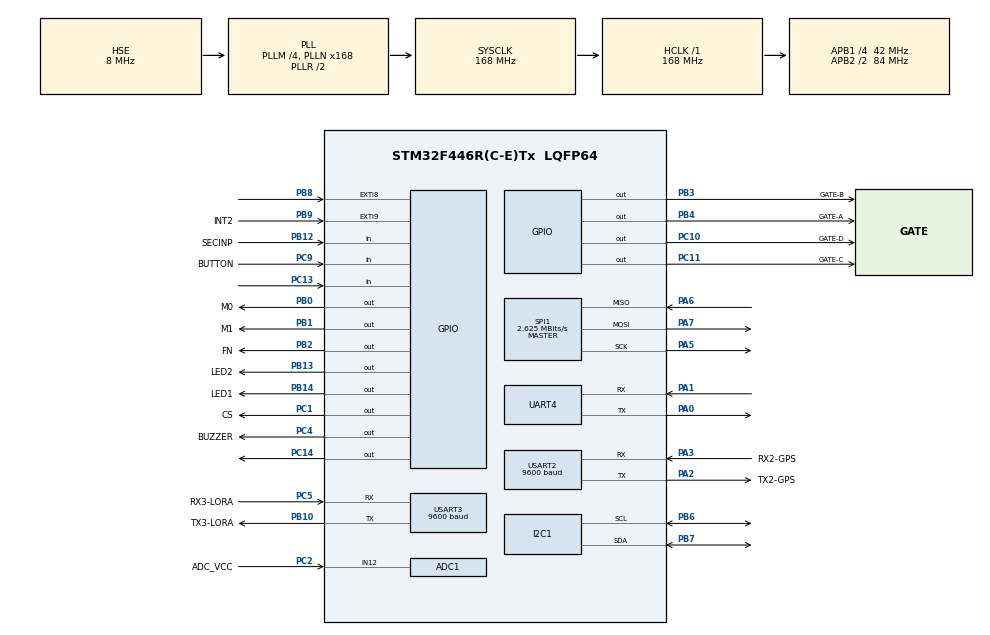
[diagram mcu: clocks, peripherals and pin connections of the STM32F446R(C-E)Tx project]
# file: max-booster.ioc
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ADC1.Channel-11\#ChannelRegularConversion=ADC_CHANNEL_12
ADC1.NbrOfConversionFlag=1
ADC1.Rank-11\#ChannelRegularConversion=1
ADC1.SamplingTime-11\#ChannelRegularConversion=ADC_SAMPLETIME_3CYCLES
ADC1.master=1
I2C1.I2C_Mode=I2C_Fast
Mcu.Family=STM32F4
Mcu.Name=STM32F446R(C-E)Tx
Mcu.Package=LQFP64
NVIC.PriorityGroup=NVIC_PRIORITYGROUP_4
NVIC.TIM1_TRG_COM_TIM11_IRQn=true\:0\:0\:false\:false\:true\:true\:true\:true
NVIC.TIM1_UP_TIM10_IRQn=true\:0\:0\:false\:false\:true\:true\:true\:true
NVIC.TIM6_DAC_IRQn=true\:0\:0\:false\:false\:true\:true\:true\:true
NVIC.TIM7_IRQn=true\:0\:0\:false\:false\:true\:true\:true\:true
NVIC.USART2_IRQn=true\:0\:0\:false\:false\:true\:true\:true\:true
PA0-WKUP.Mode=Asynchronous
PA0-WKUP.Signal=UART4_TX
PA1.Mode=Asynchronous
PA1.Signal=UART4_RX
PA13.Mode=Serial_Wire
PA13.Signal=SYS_JTMS-SWDIO
PA14.Mode=Serial_Wire
PA14.Signal=SYS_JTCK-SWCLK
PA2.GPIO_Label=TX2-GPS
PA2.Mode=Asynchronous
PA2.Signal=USART2_TX
PA3.GPIO_Label=RX2-GPS
PA3.Mode=Asynchronous
PA3.Signal=USART2_RX
PA5.Mode=Full_Duplex_Master
PA5.Signal=SPI1_SCK
PA6.Mode=Full_Duplex_Master
PA6.Signal=SPI1_MISO
PA7.Mode=Full_Duplex_Master
PA7.Signal=SPI1_MOSI
PB0.GPIO_Label=M0
PB0.Signal=GPIO_Output
PB1.GPIO_Label=M1
PB1.Signal=GPIO_Output
PB10.GPIO_Label=TX3-LORA
PB10.Mode=Asynchronous
PB10.Signal=USART3_TX
PB12.GPIO_Label=SECINP
PB12.GPIO_PuPd=GPIO_PULLUP
PB12.Signal=GPIO_Input
PB13.GPIO_Label=LED2
PB13.Signal=GPIO_Output
PB14.GPIO_Label=LED1
PB14.Signal=GPIO_Output
PB2.GPIO_Label=FN
PB2.PinState=GPIO_PIN_SET
PB2.Signal=GPIO_Output
PB3.GPIO_Label=GATE-B
PB3.Signal=GPIO_Output
PB4.GPIO_Label=GATE-A
PB4.Signal=GPIO_Output
PB6.Mode=I2C
PB6.Signal=I2C1_SCL
PB7.Mode=I2C
PB7.Signal=I2C1_SDA
PB8.GPIO_ModeDefaultEXTI=GPIO_MODE_IT_RISING
PB8.Signal=GPXTI8
PB9.GPIO_Label=INT2
PB9.GPIO_PuPd=GPIO_NOPULL
PB9.Signal=GPXTI9
PC1.GPIO_Label=CS
PC1.Signal=GPIO_Output
PC10.GPIO_Label=GATE-D
PC10.Signal=GPIO_Output
PC11.GPIO_Label=GATE-C
PC11.Signal=GPIO_Output
PC13.Signal=GPIO_Input
PC14-OSC32_IN.Signal=GPIO_Output
PC2.GPIO_Label=ADC_VCC
PC2.Signal=ADCx_IN12
PC4.GPIO_Label=BUZZER
PC4.Signal=GPIO_Output
PC5.GPIO_Label=RX3-LORA
PC5.Mode=Asynchronous
PC5.Signal=USART3_RX
PC9.GPIO_Label=BUTTON
PC9.GPIO_PuPd=GPIO_PULLUP
PC9.Signal=GPIO_Input
PH0-OSC_IN.Mode=HSE-External-Oscillator
PH0-OSC_IN.Signal=RCC_OSC_IN
PH1-OSC_OUT.Mode=HSE-External-Oscillator
PH1-OSC_OUT.Signal=RCC_OSC_OUT
ProjectManager.HeapSize=0x200
ProjectManager.StackSize=0x400
ProjectManager.TargetToolchain=STM32CubeIDE
RCC.AHBFreq_Value=168000000
RCC.APB1CLKDivider=RCC_HCLK_DIV4
RCC.APB1Freq_Value=42000000
RCC.APB1TimFreq_Value=84000000
RCC.APB2CLKDivider=RCC_HCLK_DIV2
RCC.APB2Freq_Value=84000000
RCC.APB2TimFreq_Value=168000000
RCC.CortexFreq_Value=168000000
RCC.HCLKFreq_Value=168000000
RCC.HSE_VALUE=8000000
RCC.PLLM=4
RCC.PLLN=168
RCC.PLLQ=7
RCC.PLLSourceVirtual=RCC_PLLSOURCE_HSE
RCC.SYSCLKFreq_VALUE=168000000
RCC.SYSCLKSource=RCC_SYSCLKSOURCE_PLLRCLK
RCC.USBFreq_Value=48000000
RCC.VCOOutputFreq_Value=336000000
SH.ADCx_IN12.0=ADC1_IN12,IN12
SPI1.BaudRatePrescaler=SPI_BAUDRATEPRESCALER_32
SPI1.CalculateBaudRate=2.625 MBits/s
SPI1.Direction=SPI_DIRECTION_2LINES
SPI1.Mode=SPI_MODE_MASTER
SPI1.VirtualType=VM_MASTER
TIM10.Period=4999
TIM10.Prescaler=1680
TIM11.Period=19999
TIM11.Prescaler=16800
TIM6.Period=34999
TIM6.Prescaler=8400
TIM7.Period=19999
TIM7.Prescaler=8400
UART4.VirtualMode=Asynchronous
USART2.BaudRate=9600
USART2.VirtualMode=VM_ASYNC
USART3.BaudRate=9600
USART3.VirtualMode=VM_ASYNC
VP_FATFS_VS_Generic.Mode=User_defined
VP_TIM10_VS_ClockSourceINT.Mode=Enable_Timer
VP_TIM11_VS_ClockSourceINT.Mode=Enable_Timer
VP_TIM6_VS_ClockSourceINT.Mode=Enable_Timer
VP_TIM7_VS_ClockSourceINT.Mode=Enable_Timer
board=custom

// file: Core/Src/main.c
/* USER CODE BEGIN Header */
/**
  ******************************************************************************
  * @file           : main.c
  * @brief          : Main program body
  ******************************************************************************
  * @attention
  *
  * Copyright (c) 2024 STMicroelectronics.
  * All rights reserved.
  *
  * This software is licensed under terms that can be found in the LICENSE file
  * in the root directory of this software component.
  * If no LICENSE file comes with this software, it is provided AS-IS.
  *
  ******************************************************************************
  */
/* USER CODE END Header */
#include "main.h"
#include "fatfs.h"

/* USER CODE BEGIN Includes */
#include "lwgps/lwgps.h"
#include "LSM6DSLTR.h"
#include "./BME280/bme280.h"
#include "w25q.h"
#include <math.h>
#include "FIR_FILTER.h"
/* USER CODE END Includes */

/* USER CODE BEGIN PD */
#define LORA_TX_BUFFER_SIZE 70
#define RX_BUFFER_SIZE 128
#define DEVICE_ID 1

/* USER CODE END PD */

ADC_HandleTypeDef hadc1;

I2C_HandleTypeDef hi2c1;

SPI_HandleTypeDef hspi1;

TIM_HandleTypeDef htim6;
TIM_HandleTypeDef htim7;
TIM_HandleTypeDef htim10;
TIM_HandleTypeDef htim11;

UART_HandleTypeDef huart4;
UART_HandleTypeDef huart2;
UART_HandleTypeDef huart3;

/* USER CODE BEGIN PV */

uint8_t rx_buffer[RX_BUFFER_SIZE];
uint8_t rx_index=0;
uint8_t rx_data=0;

uint8_t v4_battery=0;
uint8_t v4_mod=0;
uint8_t stage_communication=0;
uint8_t motor_burnout=0;

uint8_t BUTTON_STATE=0;

uint8_t writeData[50] = {0,1,1,1};
uint8_t readData[50] = {0};

uint8_t loratx[LORA_TX_BUFFER_SIZE];
uint8_t lora_flag=0;
uint8_t sensor_flag=0;

float temperature=0;
float humidity=0;
float altitude=0;
float offset_altitude=0;
float pressure=0;
float alt=0;
float P0 = 1013.25;
float prev_alt=0;
float speed=0;

typedef union{
  float fVal;
  unsigned char array[4];
}float2unit8;

enum ZORLU2024
{
	RAMPA,UCUS,BURNOUT,AYIR,AYRILDI_MI,AYRILDI,AYRILMADI,FINISH
};
enum ZORLU2024 BOOSTER;
/* USER CODE END PV */

void SystemClock_Config(void);
static void MX_GPIO_Init(void);
static void MX_ADC1_Init(void);
static void MX_I2C1_Init(void);
static void MX_SPI1_Init(void);
static void MX_UART4_Init(void);
static void MX_USART2_UART_Init(void);
static void MX_USART3_UART_Init(void);
static void MX_TIM11_Init(void);
static void MX_TIM10_Init(void);
static void MX_TIM6_Init(void);
static void MX_TIM7_Init(void);
/* USER CODE BEGIN PFP */
int16_t I2C_Testsensor(void);
int8_t user_i2c_read(uint8_t id, uint8_t reg_addr, uint8_t *data, uint16_t len);
int8_t user_i2c_write(uint8_t id, uint8_t reg_addr, uint8_t *data, uint16_t len);
void user_delay_ms(uint32_t period);
float BME280_Get_Altitude(void);

/* USER CODE END PFP */

/* USER CODE BEGIN 0 */
lwgps_t gps;
LSM6DSLTR Lsm_Sensor;
FIRFilter accx;
FIRFilter IMU_GYROX;
FIRFilter IMU_GYROY;
FIRFilter IMU_GYROZ;

struct bme280_dev dev;
struct bme280_data comp_data;
int8_t rslt=0;

void HAL_UART_RxCpltCallback(UART_HandleTypeDef *huart)
{
	if(rx_data != '\n' && rx_index < RX_BUFFER_SIZE)
	{
		rx_buffer[rx_index++] = rx_data;
	}
	else {
		lwgps_process(&gps, rx_buffer, rx_index+1);
		rx_index = 0;
		rx_data = 0;
	}
	HAL_UART_Receive_IT(&huart2, &rx_data, 1);

}

void HAL_TIM_PeriodElapsedCallback(TIM_HandleTypeDef *htim)
{

	if(htim==&htim11){
		lora_flag=1;

	}
	if(htim==&htim10){
		sensor_flag=1;
	}
	if(htim==&htim6){
      motor_burnout++;
	}
	if(htim==&htim7){
      motor_burnout++;
	}
}

/* USER CODE END 0 */

int main(void)
{

  /* MCU Configuration--------------------------------------------------------*/

  /* Reset of all peripherals, Initializes the Flash interface and the Systick. */
  HAL_Init();

  /* Configure the system clock */
  SystemClock_Config();

  /* Initialize all configured peripherals */
  MX_GPIO_Init();
  MX_ADC1_Init();
  MX_I2C1_Init();
  MX_SPI1_Init();
  MX_UART4_Init();
  MX_USART2_UART_Init();
  MX_USART3_UART_Init();
  MX_FATFS_Init();
  MX_TIM11_Init();
  MX_TIM10_Init();
  MX_TIM6_Init();
  MX_TIM7_Init();
  /* USER CODE BEGIN 2 */
  HAL_GPIO_WritePin(GPIOB, GPIO_PIN_2, GPIO_PIN_SET);
  HAL_GPIO_WritePin(GPIOC, GPIO_PIN_1, GPIO_PIN_SET);
  HAL_GPIO_WritePin(GPIOC, GPIO_PIN_14, GPIO_PIN_SET);

  ///KURTARMA PORTLARI KAPALI EMIN OL
  HAL_GPIO_WritePin(GPIOB, GPIO_PIN_4, GPIO_PIN_RESET);//A
  HAL_GPIO_WritePin(GPIOB, GPIO_PIN_3, GPIO_PIN_RESET);//B
  HAL_GPIO_WritePin(GPIOC, GPIO_PIN_11, GPIO_PIN_RESET);//C
  HAL_GPIO_WritePin(GPIOC, GPIO_PIN_10, GPIO_PIN_RESET);//D

  HAL_UART_Receive_IT(&huart2,&rx_data,1);
  HAL_TIM_Base_Start_IT(&htim11);
  HAL_TIM_Base_Start_IT(&htim10);

  MAFilter_Init(&accx);
  FIRFilter_Init(&IMU_GYROY);
  FIRFilter_Init(&IMU_GYROX);
  FIRFilter_Init(&IMU_GYROZ);

  lwgps_init(&gps);
  LSM6DSLTR_Init();
  E220_CONFIG(0x6,0x4A,0X10,1);

  dev.dev_id = BME280_I2C_ADDR_PRIM;
  dev.intf = BME280_I2C_INTF;
  dev.read = user_i2c_read;
  dev.write = user_i2c_write;
  dev.delay_ms = user_delay_ms;

  rslt = bme280_init(&dev);

  dev.settings.osr_h = BME280_OVERSAMPLING_1X;
  dev.settings.osr_p = BME280_OVERSAMPLING_4X;
  dev.settings.osr_t = BME280_OVERSAMPLING_2X;
  dev.settings.filter = BME280_FILTER_COEFF_16;
  rslt = bme280_set_sensor_settings(BME280_OSR_PRESS_SEL | BME280_OSR_TEMP_SEL | BME280_OSR_HUM_SEL | BME280_FILTER_SEL, &dev);

  ////ALTITUDE OFFSET
for(uint8_t i=0;i<5;i++)
{
	HAL_Delay(40);
  rslt = bme280_set_sensor_mode(BME280_FORCED_MODE, &dev);
  rslt = bme280_get_sensor_data(BME280_ALL, &comp_data, &dev);
  if(rslt == BME280_OK)
  { pressure = comp_data.pressure;
    offset_altitude=BME280_Get_Altitude();
  }
}

     // W25Q_WriteData(0x000000, writeData, 50);
  	 W25Q_SectorErase(0x000000);
     // Bellekten veri okuma
     W25Q_ReadData(0x000000, readData, 50);

  for(uint8_t i=0;i<30;i++)
  {
  		  	    HAL_GPIO_TogglePin(GPIOC,GPIO_PIN_4);
  		  	    HAL_GPIO_TogglePin(GPIOB,GPIO_PIN_14);
  		  	    HAL_GPIO_TogglePin(GPIOB,GPIO_PIN_13);
  		  		HAL_Delay(100);
  }

  /* USER CODE END 2 */

  /* Infinite loop */
  /* USER CODE BEGIN WHILE */
  while (1)
  {

					   if(sensor_flag==1){
							    sensor_flag=0;
                                prev_alt=altitude;
                                rslt = bme280_set_sensor_mode(BME280_FORCED_MODE, &dev);
                    		    /* �?��?�터 취�? */
                    		    rslt = bme280_get_sensor_data(BME280_ALL, &comp_data, &dev);
                    		    if(rslt == BME280_OK)
                    		    {
                    		      temperature = comp_data.temperature;
                    		      humidity = comp_data.humidity;
                    		      pressure = comp_data.pressure;
                    		      altitude=BME280_Get_Altitude()-offset_altitude;
                    		      speed=(altitude-prev_alt)*20;

                    		    }
                            	 LSM6DSLTR_Read_Accel_Data(&Lsm_Sensor);
                        		 calculate_roll_pitch(&Lsm_Sensor);
                        		 LSM6DSLTR_Read_Gyro_Data(&Lsm_Sensor);
                        		 update_angles(&Lsm_Sensor);

                        		 Lsm_Sensor.Accel_X=FIRFilter_Update(&accx,  Lsm_Sensor.Accel_X);

                        		 Lsm_Sensor.Gyro_X=FIRFilter_Update(&IMU_GYROX,  Lsm_Sensor.Gyro_X);
                        		 Lsm_Sensor.Gyro_Y=FIRFilter_Update(&IMU_GYROY, Lsm_Sensor.Gyro_Y);
                        		 Lsm_Sensor.Gyro_Z=FIRFilter_Update(&IMU_GYROZ, Lsm_Sensor.Gyro_Z);

                        		 stage_communication=HAL_GPIO_ReadPin(GPIOC, GPIO_PIN_13);
                        		 BUTTON_STATE=HAL_GPIO_ReadPin(GPIOC, GPIO_PIN_9);
					   }

                       if(lora_flag==1){
                    	   lora_flag=0;

	loratx[0]=0x8;
	loratx[1]=0x2A;
	loratx[2]=0x6;
	loratx[3]=DEVICE_ID;
	loratx[4]=gps.sats_in_view;

		 float2unit8 f2u8_gpsalt;
	     f2u8_gpsalt.fVal=gps.altitude;
			 for(uint8_t i=0;i<4;i++)
			 {
				loratx[i+5]=f2u8_gpsalt.array[i];
			 }

		 float2unit8 f2u8_latitude;
		 f2u8_latitude.fVal=gps.latitude;
			 for(uint8_t i=0;i<4;i++)
			 {
				loratx[i+9]=f2u8_latitude.array[i];
			 }

		 float2unit8 f2u8_longitude;
		 f2u8_longitude.fVal=gps.longitude;
			 for(uint8_t i=0;i<4;i++)
			 {
				loratx[i+13]=f2u8_longitude.array[i];
			 }

		 float2unit8 f2u8_altitude;
		 f2u8_altitude.fVal=altitude;
			 for(uint8_t i=0;i<4;i++)
			 {
				loratx[i+17]=f2u8_altitude.array[i];
			 }
		 float2unit8 f2u8_speed;
		 f2u8_speed.fVal=speed;
			 for(uint8_t i=0;i<4;i++)
			 {
				loratx[i+21]=f2u8_speed.array[i];
			 }

		 float2unit8 f2u8_temp;
		 f2u8_temp.fVal=temperature;
			 for(uint8_t i=0;i<4;i++)
			 {
				loratx[i+25]=f2u8_temp.array[i];
			 }

		 float2unit8 f2u8_accx;
		 f2u8_accx.fVal=Lsm_Sensor.Accel_X;
			 for(uint8_t i=0;i<4;i++)
			 {
				loratx[i+29]=f2u8_accx.array[i];
			 }

		 float2unit8 f2u8_accy;
		 f2u8_accy.fVal=Lsm_Sensor.Accel_Y;
		 	 for(uint8_t i=0;i<4;i++)
			 {
				loratx[i+33]=f2u8_accy.array[i];
			 }

		 float2unit8 f2u8_accz;
		 f2u8_accz.fVal=Lsm_Sensor.Accel_Z;
		 	 for(uint8_t i=0;i<4;i++)
			 {
			    loratx[i+37]=f2u8_accz.array[i];
			 }

		 float2unit8 f2u8_roll;
		 f2u8_roll.fVal=Lsm_Sensor.Roll;
			 for(uint8_t i=0;i<4;i++)
			 {
				loratx[i+41]=f2u8_roll.array[i];
			 }

		 float2unit8 f2u8_pitch;
		 f2u8_pitch.fVal=Lsm_Sensor.Pitch;
			 for(uint8_t i=0;i<4;i++)
			 {
				loratx[i+45]=f2u8_pitch.array[i];
			 }

							loratx[49]=v4_battery;
							loratx[50]=v4_mod;
							loratx[51]=stage_communication;
							 for(uint8_t i=52;i<69;i++)
							 {
								loratx[i]='0';
							 }

							loratx[69]='\n';
			  HAL_UART_Transmit_IT(&huart3,loratx,LORA_TX_BUFFER_SIZE );

            		 }

 		  	  	  	  switch(BOOSTER){

 		  	  	  	  case RAMPA:
		  	  	  		  	  v4_mod=1;
 		  	  	  		  //RAMPA MODU  ÜST KADEME HABERLE�?ME KONTROL ET
 		  	  	  		  if(Lsm_Sensor.Accel_X<-3){
 		  	  	  		  	  BOOSTER=UCUS;
 	 		  	  	    	  HAL_TIM_Base_Start_IT(&htim6);
 		  	  	  		  	  }
 		  	  	  		  	  break;
 		  	  	      case UCUS:
		  	  	    	      v4_mod=2;
 		  	  	    	  // FLASH MEMORYE KAYDETMEYE BA�?LA VE MOTOR YANMA SÜRESİ KADAR SAY
 		  	  	    	  if(motor_burnout==2)
 		  	  	    	  {	 HAL_TIM_Base_Stop_IT(&htim6);
 		  	  	    	     HAL_TIM_Base_Start_IT(&htim7);
 		  	  	    	  	 BOOSTER=BURNOUT;
 		  	  	    	  	 motor_burnout=0;
   		  	  	    	  }
 		  	  	  		  	   break;
 		  	  	      case BURNOUT:
		  	  	    	  	  v4_mod=3;
 		  	  	    	  //İVME VE HIZ DE�?ERLERİNE BAKARAK SAFETY SÜRESİ GEÇMEDEN KADEMEYİ AYIRABİLİR
 		  	  	    	  if(Lsm_Sensor.Accel_X<-3 || motor_burnout==2 ){
 		  	  	    		HAL_TIM_Base_Stop_IT(&htim7);
 		  	  	    		BOOSTER=AYIR;
 		  	  	    		motor_burnout=0;
 		  	  	    	  }
 		  	  	  		       break;
 		  	  	      case AYIR:
		  	  	    	  	  v4_mod=4;
 		  	  	    	  // MOTOR YANMA SÜRESİ+SAFETY SÜRESİ GEÇTİYSE AYIRMA SİNYALİ GÖNDER

 		  	  	    	      BOOSTER=AYRILDI_MI;
 		  	  	  		       break;
 		  	  	      case AYRILDI_MI:
		  	  	    	  	  v4_mod=5;
 		  	  	    	  //STAGE COMMUNICATION !!!!!
 		  	  	    	  if(stage_communication==0){
 		  	  	    		  BOOSTER=AYRILDI;
 		  	  	    	  }
 		  	  	    	  else if(stage_communication==1){
 		  	  	    		  BOOSTER=AYRILMADI;
 		  	  	    	  }
 		  	  	  		       break;
 		  	  	      case AYRILDI:
		  	  	    	  	 v4_mod=6;
 		  	  	    	  //AYRILMA GERÇEKLESTI BOOSTER APOGEE YAKALA

 		  	  	  		       break;
 		  	  	      case AYRILMADI:
		  	  	    	  	  v4_mod=7;
 		  	  	    	  //ÇOK SÜRE GEÇTİ VE HALA AYRILMADI İSE BOOSTER PARA�?ÜT AÇMA

 		  	  	  		       break;
 		  	  	      case FINISH:
		  	  	    	  	  v4_mod=8;
 		  	  	    	  //KURTARMA GERÇEKLE�?Tİ VERİ KAYDETMEYİ BIRAK VE BUZZERI AÇ

 		  	  	  		       break;
 		  	  	  	  }

	//	 CDC_Transmit_FS("ALLAH",5);
	//	 HAL_UART_Transmit(&huart6, "V4-MAXXX",9 , 1000);

    /* USER CODE END WHILE */

  }
}

void SystemClock_Config(void)
{
  RCC_OscInitTypeDef RCC_OscInitStruct = {0};
  RCC_ClkInitTypeDef RCC_ClkInitStruct = {0};

  /** Configure the main internal regulator output voltage
  */
  __HAL_RCC_PWR_CLK_ENABLE();
  __HAL_PWR_VOLTAGESCALING_CONFIG(PWR_REGULATOR_VOLTAGE_SCALE1);

  /** Initializes the RCC Oscillators according to the specified parameters
  * in the RCC_OscInitTypeDef structure.
  */
  RCC_OscInitStruct.OscillatorType = RCC_OSCILLATORTYPE_HSE;
  RCC_OscInitStruct.HSEState = RCC_HSE_ON;
  RCC_OscInitStruct.PLL.PLLState = RCC_PLL_ON;
  RCC_OscInitStruct.PLL.PLLSource = RCC_PLLSOURCE_HSE;
  RCC_OscInitStruct.PLL.PLLM = 4;
  RCC_OscInitStruct.PLL.PLLN = 168;
  RCC_OscInitStruct.PLL.PLLP = RCC_PLLP_DIV2;
  RCC_OscInitStruct.PLL.PLLQ = 7;
  RCC_OscInitStruct.PLL.PLLR = 2;
  if (HAL_RCC_OscConfig(&RCC_OscInitStruct) != HAL_OK)
  {
    Error_Handler();
  }

  /** Initializes the CPU, AHB and APB buses clocks
  */
  RCC_ClkInitStruct.ClockType = RCC_CLOCKTYPE_HCLK|RCC_CLOCKTYPE_SYSCLK
                              |RCC_CLOCKTYPE_PCLK1|RCC_CLOCKTYPE_PCLK2;
  RCC_ClkInitStruct.SYSCLKSource = RCC_SYSCLKSOURCE_PLLRCLK;
  RCC_ClkInitStruct.AHBCLKDivider = RCC_SYSCLK_DIV1;
  RCC_ClkInitStruct.APB1CLKDivider = RCC_HCLK_DIV4;
  RCC_ClkInitStruct.APB2CLKDivider = RCC_HCLK_DIV2;

  if (HAL_RCC_ClockConfig(&RCC_ClkInitStruct, FLASH_LATENCY_5) != HAL_OK)
  {
    Error_Handler();
  }
}

static void MX_ADC1_Init(void)
{

  ADC_ChannelConfTypeDef sConfig = {0};

  /** Configure the global features of the ADC (Clock, Resolution, Data Alignment and number of conversion)
  */
  hadc1.Instance = ADC1;
  hadc1.Init.ClockPrescaler = ADC_CLOCK_SYNC_PCLK_DIV4;
  hadc1.Init.Resolution = ADC_RESOLUTION_12B;
  hadc1.Init.ScanConvMode = DISABLE;
  hadc1.Init.ContinuousConvMode = DISABLE;
  hadc1.Init.DiscontinuousConvMode = DISABLE;
  hadc1.Init.ExternalTrigConvEdge = ADC_EXTERNALTRIGCONVEDGE_NONE;
  hadc1.Init.ExternalTrigConv = ADC_SOFTWARE_START;
  hadc1.Init.DataAlign = ADC_DATAALIGN_RIGHT;
  hadc1.Init.NbrOfConversion = 1;
  hadc1.Init.DMAContinuousRequests = DISABLE;
  hadc1.Init.EOCSelection = ADC_EOC_SINGLE_CONV;
  if (HAL_ADC_Init(&hadc1) != HAL_OK)
  {
    Error_Handler();
  }

  /** Configure for the selected ADC regular channel its corresponding rank in the sequencer and its sample time.
  */
  sConfig.Channel = ADC_CHANNEL_12;
  sConfig.Rank = 1;
  sConfig.SamplingTime = ADC_SAMPLETIME_3CYCLES;
  if (HAL_ADC_ConfigChannel(&hadc1, &sConfig) != HAL_OK)
  {
    Error_Handler();
  }

}

static void MX_I2C1_Init(void)
{

  hi2c1.Instance = I2C1;
  hi2c1.Init.ClockSpeed = 400000;
  hi2c1.Init.DutyCycle = I2C_DUTYCYCLE_2;
  hi2c1.Init.OwnAddress1 = 0;
  hi2c1.Init.AddressingMode = I2C_ADDRESSINGMODE_7BIT;
  hi2c1.Init.DualAddressMode = I2C_DUALADDRESS_DISABLE;
  hi2c1.Init.OwnAddress2 = 0;
  hi2c1.Init.GeneralCallMode = I2C_GENERALCALL_DISABLE;
  hi2c1.Init.NoStretchMode = I2C_NOSTRETCH_DISABLE;
  if (HAL_I2C_Init(&hi2c1) != HAL_OK)
  {
    Error_Handler();
  }

}

static void MX_SPI1_Init(void)
{

  /* SPI1 parameter configuration*/
  hspi1.Instance = SPI1;
  hspi1.Init.Mode = SPI_MODE_MASTER;
  hspi1.Init.Direction = SPI_DIRECTION_2LINES;
  hspi1.Init.DataSize = SPI_DATASIZE_8BIT;
  hspi1.Init.CLKPolarity = SPI_POLARITY_LOW;
  hspi1.Init.CLKPhase = SPI_PHASE_1EDGE;
  hspi1.Init.NSS = SPI_NSS_SOFT;
  hspi1.Init.BaudRatePrescaler = SPI_BAUDRATEPRESCALER_32;
  hspi1.Init.FirstBit = SPI_FIRSTBIT_MSB;
  hspi1.Init.TIMode = SPI_TIMODE_DISABLE;
  hspi1.Init.CRCCalculation = SPI_CRCCALCULATION_DISABLE;
  hspi1.Init.CRCPolynomial = 10;
  if (HAL_SPI_Init(&hspi1) != HAL_OK)
  {
    Error_Handler();
  }

}

static void MX_TIM6_Init(void)
{

  TIM_MasterConfigTypeDef sMasterConfig = {0};

  htim6.Instance = TIM6;
  htim6.Init.Prescaler = 8400;
  htim6.Init.CounterMode = TIM_COUNTERMODE_UP;
  htim6.Init.Period = 34999;
  htim6.Init.AutoReloadPreload = TIM_AUTORELOAD_PRELOAD_DISABLE;
  if (HAL_TIM_Base_Init(&htim6) != HAL_OK)
  {
    Error_Handler();
  }
  sMasterConfig.MasterOutputTrigger = TIM_TRGO_RESET;
  sMasterConfig.MasterSlaveMode = TIM_MASTERSLAVEMODE_DISABLE;
  if (HAL_TIMEx_MasterConfigSynchronization(&htim6, &sMasterConfig) != HAL_OK)
  {
    Error_Handler();
  }

}

static void MX_TIM7_Init(void)
{

  TIM_MasterConfigTypeDef sMasterConfig = {0};

  htim7.Instance = TIM7;
  htim7.Init.Prescaler = 8400;
  htim7.Init.CounterMode = TIM_COUNTERMODE_UP;
  htim7.Init.Period = 19999;
  htim7.Init.AutoReloadPreload = TIM_AUTORELOAD_PRELOAD_DISABLE;
  if (HAL_TIM_Base_Init(&htim7) != HAL_OK)
  {
    Error_Handler();
  }
  sMasterConfig.MasterOutputTrigger = TIM_TRGO_RESET;
  sMasterConfig.MasterSlaveMode = TIM_MASTERSLAVEMODE_DISABLE;
  if (HAL_TIMEx_MasterConfigSynchronization(&htim7, &sMasterConfig) != HAL_OK)
  {
    Error_Handler();
  }

}

static void MX_TIM10_Init(void)
{

  htim10.Instance = TIM10;
  htim10.Init.Prescaler = 1680;
  htim10.Init.CounterMode = TIM_COUNTERMODE_UP;
  htim10.Init.Period = 4999;
  htim10.Init.ClockDivision = TIM_CLOCKDIVISION_DIV1;
  htim10.Init.AutoReloadPreload = TIM_AUTORELOAD_PRELOAD_DISABLE;
  if (HAL_TIM_Base_Init(&htim10) != HAL_OK)
  {
    Error_Handler();
  }

}

static void MX_TIM11_Init(void)
{

  htim11.Instance = TIM11;
  htim11.Init.Prescaler = 16800;
  htim11.Init.CounterMode = TIM_COUNTERMODE_UP;
  htim11.Init.Period = 19999;
  htim11.Init.ClockDivision = TIM_CLOCKDIVISION_DIV1;
  htim11.Init.AutoReloadPreload = TIM_AUTORELOAD_PRELOAD_DISABLE;
  if (HAL_TIM_Base_Init(&htim11) != HAL_OK)
  {
    Error_Handler();
  }

}

static void MX_UART4_Init(void)
{

  huart4.Instance = UART4;
  huart4.Init.BaudRate = 115200;
  huart4.Init.WordLength = UART_WORDLENGTH_8B;
  huart4.Init.StopBits = UART_STOPBITS_1;
  huart4.Init.Parity = UART_PARITY_NONE;
  huart4.Init.Mode = UART_MODE_TX_RX;
  huart4.Init.HwFlowCtl = UART_HWCONTROL_NONE;
  huart4.Init.OverSampling = UART_OVERSAMPLING_16;
  if (HAL_UART_Init(&huart4) != HAL_OK)
  {
    Error_Handler();
  }

}

static void MX_USART2_UART_Init(void)
{

  huart2.Instance = USART2;
  huart2.Init.BaudRate = 9600;
  huart2.Init.WordLength = UART_WORDLENGTH_8B;
  huart2.Init.StopBits = UART_STOPBITS_1;
  huart2.Init.Parity = UART_PARITY_NONE;
  huart2.Init.Mode = UART_MODE_TX_RX;
  huart2.Init.HwFlowCtl = UART_HWCONTROL_NONE;
  huart2.Init.OverSampling = UART_OVERSAMPLING_16;
  if (HAL_UART_Init(&huart2) != HAL_OK)
  {
    Error_Handler();
  }

}

static void MX_USART3_UART_Init(void)
{

  huart3.Instance = USART3;
  huart3.Init.BaudRate = 9600;
  huart3.Init.WordLength = UART_WORDLENGTH_8B;
  huart3.Init.StopBits = UART_STOPBITS_1;
  huart3.Init.Parity = UART_PARITY_NONE;
  huart3.Init.Mode = UART_MODE_TX_RX;
  huart3.Init.HwFlowCtl = UART_HWCONTROL_NONE;
  huart3.Init.OverSampling = UART_OVERSAMPLING_16;
  if (HAL_UART_Init(&huart3) != HAL_OK)
  {
    Error_Handler();
  }

}

static void MX_GPIO_Init(void)
{
  GPIO_InitTypeDef GPIO_InitStruct = {0};

  /* GPIO Ports Clock Enable */
  __HAL_RCC_GPIOC_CLK_ENABLE();
  __HAL_RCC_GPIOH_CLK_ENABLE();
  __HAL_RCC_GPIOA_CLK_ENABLE();
  __HAL_RCC_GPIOB_CLK_ENABLE();

  /*Configure GPIO pin Output Level */
  HAL_GPIO_WritePin(GPIOC, GPIO_PIN_14|CS_Pin|BUZZER_Pin|GATE_D_Pin
                          |GATE_C_Pin, GPIO_PIN_RESET);

  /*Configure GPIO pin Output Level */
  HAL_GPIO_WritePin(GPIOB, M0_Pin|M1_Pin|LED2_Pin|LED1_Pin
                          |GATE_B_Pin|GATE_A_Pin, GPIO_PIN_RESET);

  /*Configure GPIO pin Output Level */
  HAL_GPIO_WritePin(FN_GPIO_Port, FN_Pin, GPIO_PIN_SET);

  /*Configure GPIO pin : PC13 */
  GPIO_InitStruct.Pin = GPIO_PIN_13;
  GPIO_InitStruct.Mode = GPIO_MODE_INPUT;
  GPIO_InitStruct.Pull = GPIO_NOPULL;
  HAL_GPIO_Init(GPIOC, &GPIO_InitStruct);

  /*Configure GPIO pins : PC14 CS_Pin BUZZER_Pin GATE_D_Pin
                           GATE_C_Pin */
  GPIO_InitStruct.Pin = GPIO_PIN_14|CS_Pin|BUZZER_Pin|GATE_D_Pin
                          |GATE_C_Pin;
  GPIO_InitStruct.Mode = GPIO_MODE_OUTPUT_PP;
  GPIO_InitStruct.Pull = GPIO_NOPULL;
  GPIO_InitStruct.Speed = GPIO_SPEED_FREQ_LOW;
  HAL_GPIO_Init(GPIOC, &GPIO_InitStruct);

  /*Configure GPIO pins : M0_Pin M1_Pin FN_Pin LED2_Pin
                           LED1_Pin GATE_B_Pin GATE_A_Pin */
  GPIO_InitStruct.Pin = M0_Pin|M1_Pin|FN_Pin|LED2_Pin
                          |LED1_Pin|GATE_B_Pin|GATE_A_Pin;
  GPIO_InitStruct.Mode = GPIO_MODE_OUTPUT_PP;
  GPIO_InitStruct.Pull = GPIO_NOPULL;
  GPIO_InitStruct.Speed = GPIO_SPEED_FREQ_LOW;
  HAL_GPIO_Init(GPIOB, &GPIO_InitStruct);

  /*Configure GPIO pin : SECINP_Pin */
  GPIO_InitStruct.Pin = SECINP_Pin;
  GPIO_InitStruct.Mode = GPIO_MODE_INPUT;
  GPIO_InitStruct.Pull = GPIO_PULLUP;
  HAL_GPIO_Init(SECINP_GPIO_Port, &GPIO_InitStruct);

  /*Configure GPIO pin : BUTTON_Pin */
  GPIO_InitStruct.Pin = BUTTON_Pin;
  GPIO_InitStruct.Mode = GPIO_MODE_INPUT;
  GPIO_InitStruct.Pull = GPIO_PULLUP;
  HAL_GPIO_Init(BUTTON_GPIO_Port, &GPIO_InitStruct);

  /*Configure GPIO pins : PB8 INT2_Pin */
  GPIO_InitStruct.Pin = GPIO_PIN_8|INT2_Pin;
  GPIO_InitStruct.Mode = GPIO_MODE_IT_RISING;
  GPIO_InitStruct.Pull = GPIO_NOPULL;
  HAL_GPIO_Init(GPIOB, &GPIO_InitStruct);

}

/* USER CODE BEGIN 4 */
int16_t I2C_Testsensor(void){

	HAL_StatusTypeDef status;

	status=HAL_I2C_IsDeviceReady(&hi2c1,0x6A <<1, 4, 100);

	if(HAL_OK==status){

		return 1;
		}
	else {
		return 0;
		}

}
void E220_CONFIG(uint8_t ADDH, uint8_t ADDL, uint8_t CHN, uint8_t MODE)
{
    HAL_GPIO_WritePin(GPIOB, GPIO_PIN_2, SET);
    HAL_GPIO_WritePin(GPIOB, GPIO_PIN_1, SET);
    HAL_Delay(50);

    char cfg_buff[8] = {0}; // E220 için 8 elemanlı bir dizi kullanıyoruz
    enum {Transparent, Fixed} mode;
    mode = MODE;

    cfg_buff[0] = ADDH;
    cfg_buff[1] = ADDL;
    cfg_buff[2] = 0x62;
    cfg_buff[3] = 0x00;
    cfg_buff[4] = CHN;

    switch(mode){
        case Transparent:
            cfg_buff[5] = 0x00;  // opsiyon
            break;
        case Fixed:
            cfg_buff[5] = 0x11;
            break;
        default:
            cfg_buff[5] = 0x11;
     }

     cfg_buff[6] = 0x00;
     cfg_buff[7] = 0x00;

    HAL_UART_Transmit(&huart3, (uint8_t*) cfg_buff, 8, 1000);

    HAL_Delay(25);
    HAL_GPIO_WritePin(GPIOB, GPIO_PIN_2, RESET);
    HAL_GPIO_WritePin(GPIOB, GPIO_PIN_1, RESET);
    HAL_Delay(25);
}

float BME280_Get_Altitude(void)
{
	float press = comp_data.pressure / 10000.0;
	float temp = comp_data.temperature / 100.0;
	alt = 44330 * (1 - pow((press / 1013.25),(1/5.255)));
	//alt = ((pow((P0/press), (1/5.257))-1) * (temp + 273.15)) / 0.0065;

	return (alt);
}
int8_t user_i2c_read(uint8_t id, uint8_t reg_addr, uint8_t *data, uint16_t len)
{
  if(HAL_I2C_Master_Transmit(&hi2c1, (id << 1), &reg_addr, 1, 10) != HAL_OK) return -1;
  if(HAL_I2C_Master_Receive(&hi2c1, (id << 1) | 0x01, data, len, 10) != HAL_OK) return -1;

  return 0;
}

void user_delay_ms(uint32_t period)
{
  HAL_Delay(period);
}
int8_t user_i2c_write(uint8_t id, uint8_t reg_addr, uint8_t *data, uint16_t len)
{
  int8_t *buf;
  buf = malloc(len +1);
  buf[0] = reg_addr;
  memcpy(buf +1, data, len);

  if(HAL_I2C_Master_Transmit(&hi2c1, (id << 1), (uint8_t*)buf, len + 1, HAL_MAX_DELAY) != HAL_OK) return -1;

  free(buf);
  return 0;
}
/* USER CODE END 4 */

void Error_Handler(void)
{
  __disable_irq();
  while (1)
  {
  }
}
